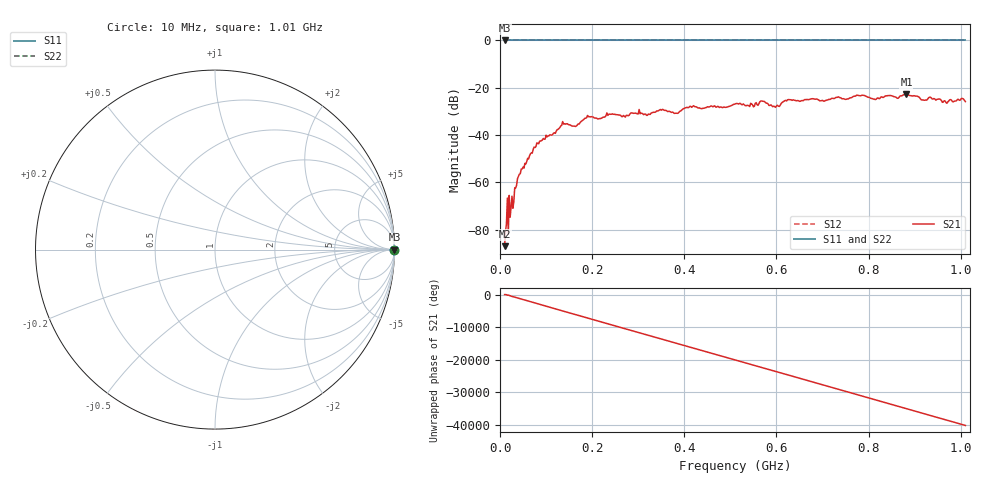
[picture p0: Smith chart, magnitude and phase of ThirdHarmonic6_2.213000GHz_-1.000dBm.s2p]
! 8/17/2025 2:22:01 AM
! C:\ANRITSUVNA\TEMP\TEMP.S2P
! CHANNEL.1
! TR.MEASUREMENT
! RAW.DATA
! RF.CORRECTION.OFF
! AVERAGING.OFF
! IF.BANDWIDTH: 5KHZ
! SWEEPTYPE:  FREQ.SWEEP(Linear)
! Reference Plane Port Info
! PORT:  PORT1  PORT2
! DISTANCE:  0  m  0  m
! TIME:  0  s  0  s
! PHASE.OFFSET:  0  deg.  0  deg.
! LOSS:  0  dB  0  dB
! REF.LOSS:  0  dB  0  dB
! REF.FREQ:  0  Hz  0  Hz
! Power Info
! POWER:  -20  dBm  -20  dBm
! EFF.POWER:  -20  dBm  -20  dBm
! SOURCE.ATTEN:  0  dB  0  dB
! TEST.ATTEN:  0  dB  0  dB
# GHZ S RI R 50.0
! FREQ.GHZ  S11RE  S11IM  S21RE  S21IM  S12RE  S12IM  S22RE  S22IM
!; PortSelection: Port_12
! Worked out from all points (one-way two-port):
!   501 points, 10 MHz to 1.01 GHz, reference 50 ohm
!   highest |S21| = -22.80 dB at 882 MHz (marker M1); lowest = -87.0 dB at 10 MHz (marker M2)
!   lowest |S11| = 0.0 dB at 10 MHz (marker M3)
!   |S11| at or under -10 dB: nowhere
!   |S22| runs from 0.0 to 0.0 dB; largest |S21 - S12| = 1.1
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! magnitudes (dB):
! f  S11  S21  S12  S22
! 10 MHz  0.0  -87.0  0.0  0.0
! 20 MHz  0.0  -65.5  0.0  0.0
! 26 MHz  0.0  -65.8  0.0  0.0
! 42 MHz  0.0  -56.5  0.0  0.0
! 76 MHz  0.0  -45.2  0.0  0.0
! 136 MHz  0.0  -34.3  0.0  0.0
! 162 MHz  0.0  -36.2  0.0  0.0
! 178 MHz  0.0  -33.9  0.0  0.0
! 194 MHz  0.0  -32.2  0.0  0.0
! 322 MHz  0.0  -31.1  0.0  0.0
! 344 MHz  0.0  -29.7  0.0  0.0
! 382 MHz  0.0  -30.7  0.0  0.0
! 416 MHz  0.0  -28.2  0.0  0.0
! 510 MHz  0.0  -26.8  0.0  0.0
! 570 MHz  0.0  -25.7  0.0  0.0
! 596 MHz  0.0  -28.0  0.0  0.0
! 628 MHz  0.0  -25.0  0.0  0.0
! 678 MHz  0.0  -24.6  0.0  0.0
! 844 MHz  0.0  -23.3  0.0  0.0
! 882 MHz  0.0  -22.8  0.0  0.0
! 918 MHz  0.0  -25.1  0.0  0.0
! 1.01 GHz  0.0  -25.9  0.0  0.0
